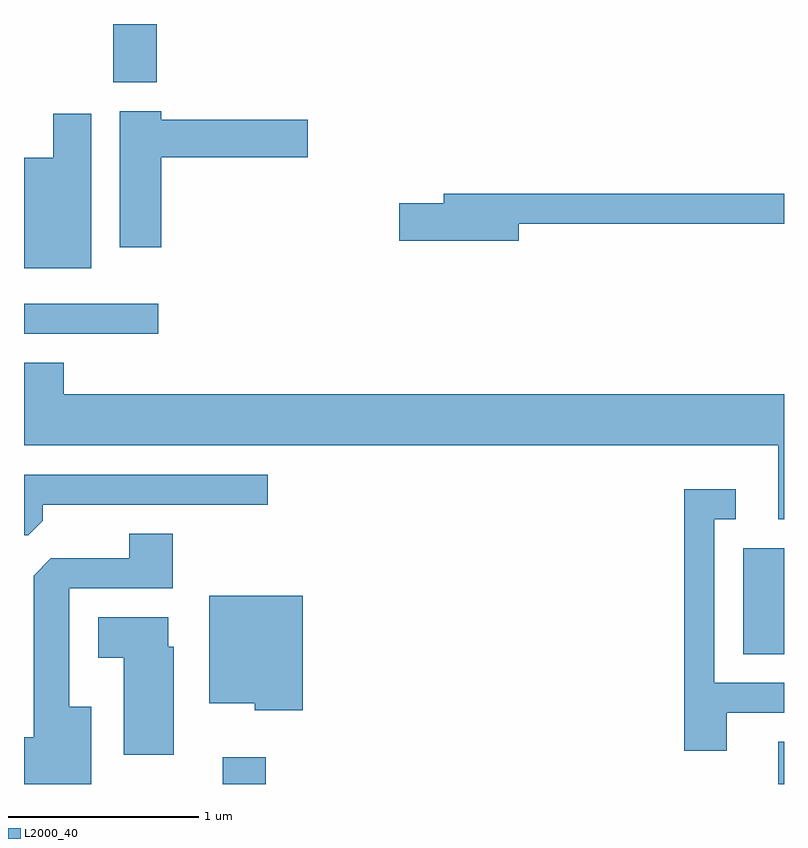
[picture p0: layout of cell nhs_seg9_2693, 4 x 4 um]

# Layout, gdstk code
import gdstk
lib = gdstk.Library(unit=1e-6, precision=1e-09)
def R(c, l, rs):  # rectangles x0, y0, x1, y1
    for r in rs: c.add(gdstk.rectangle(r[:2], r[2:], *l))
def P(c, l, *ps):  # polygons
    for p in ps: c.add(gdstk.Polygon(p, *l))
L2000_40 = (2000, 40)

nhs_seg9_2693 = lib.new_cell('nhs_seg9_2693')
R(nhs_seg9_2693, L2000_40, [(264.656,2034.432,264.884,2034.574), (267.581,2034.432,267.611,2034.654), (267.396,2035.116,267.611,2035.674), (263.611,2036.801,264.318,2036.959), (264.081,2038.126,264.309,2038.432)])
P(nhs_seg9_2693, L2000_40, [(264.334,2037.731),(265.104,2037.731),(265.104,2037.929),(264.334,2037.929),(264.334,2037.974),(264.116,2037.974),(264.116,2037.256),(264.334,2037.256)],
  [(263.964,2037.959),(263.766,2037.959),(263.766,2037.729),(263.611,2037.729),(263.611,2037.146),(263.964,2037.146)],
  [(266.214,2037.381),(267.611,2037.381),(267.611,2037.539),(265.821,2037.539),(265.821,2037.489),(265.586,2037.489),(265.586,2037.291),(266.214,2037.291)],
  [(267.611,2036.484),(263.819,2036.484),(263.819,2036.649),(263.611,2036.649),(263.611,2036.216),(267.581,2036.216),(267.581,2035.826),(267.611,2035.826)],
  [(263.709,2035.817),(263.709,2035.901),(264.893,2035.901),(264.893,2036.059),(263.611,2036.059),(263.611,2035.741),(263.634,2035.741)],
  [(267.309,2034.806),(267.611,2034.806),(267.611,2034.964),(267.244,2034.964),(267.244,2035.826),(267.358,2035.826),(267.358,2035.984),(267.086,2035.984),(267.086,2034.606),(267.309,2034.606)],
  [(263.964,2034.839),(263.849,2034.839),(263.849,2035.461),(264.394,2035.461),(264.394,2035.749),(264.166,2035.749),(264.166,2035.619),(263.752,2035.619),(263.661,2035.529),(263.661,2034.679),(263.611,2034.679),(263.611,2034.432),(263.964,2034.432)],
  [(265.079,2035.424),(264.586,2035.424),(264.586,2034.856),(264.826,2034.856),(264.826,2034.821),(265.079,2034.821)],
  [(264.399,2035.154),(264.369,2035.154),(264.369,2035.309),(264.001,2035.309),(264.001,2035.096),(264.136,2035.096),(264.136,2034.586),(264.399,2034.586)])

lib.write_gds('nhs_seg9_2693.gds')
